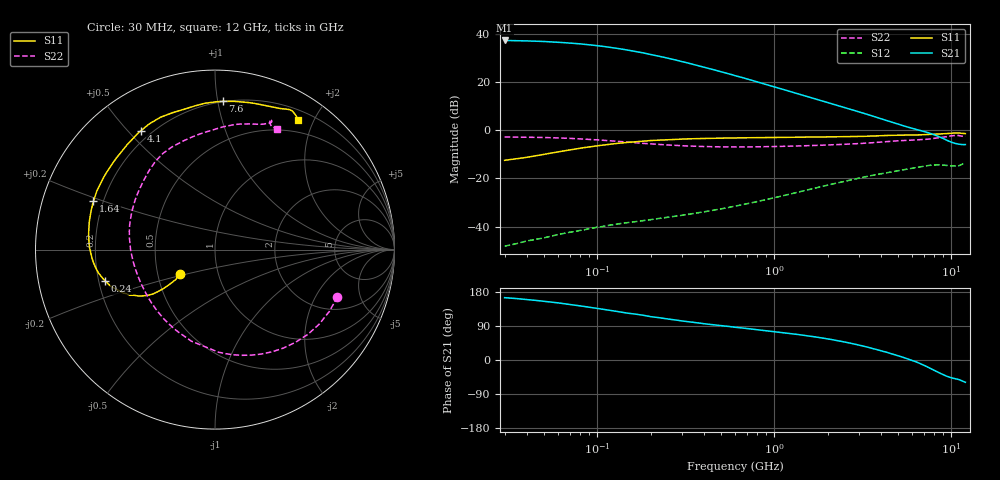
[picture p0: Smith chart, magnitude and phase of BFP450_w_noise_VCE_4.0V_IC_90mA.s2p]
! (c) 2015  Infineon Technologies AG, Munich
! Infineon Technologies  Discrete & RF Semiconductors
! BFP450
! VCE =  4.0 V,  IC =  90 mA
! Common Emitter S-Parameters:  Nov 2015
# GHz  S  MA  R  50
!  f  S11  S21  S12  S22
! GHz  MAG  ANG  MAG  ANG  MAG  ANG  MAG  ANG
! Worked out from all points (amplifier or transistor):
!   239 points, 30 MHz to 12 GHz, reference 50 ohm
!   highest |S21| = 37.5 dB at 30 MHz (marker M1)
!   |S21| within 3 dB of that: start of sweep to 121.8 MHz
!   unconditionally stable (mu >= 1): 946.3 MHz to end of sweep
!   at 300 MHz: K = 0.71, MSG = 32.0 dB, |S12| = -35.3 dB
!   at 1.88 GHz: K = 1.09, MAG = 15.9 dB, |S12| = -23.2 dB
!   at 12 GHz: K = 1.08, MAG = 2.0 dB, |S12| = -13.5 dB
!   lowest NFmin = 2.02 dB at 450 MHz
!   S11 on the Smith chart (normalised r, x): 30 MHz: 0.65, -0.19; 240 MHz: 0.23, -0.13; 1.64 GHz: 0.16, +0.19; 4.1 GHz: 0.16, +0.54; 7.6 GHz: 0.20, +1.03; 12 GHz: 0.33, +1.79
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0.03  0.2386 -145.7  74.65 164.5  0.0039 62.2  0.7315 -21.1
0.04  0.2753 -142.7  73.04 159.7  0.005 64.8  0.7243 -28.4
0.05  0.3176 -142.6  71.06 154.9  0.0058 63.0  0.7139 -35.6
0.06  0.3593 -142.9  68.55 150.8  0.0068 61.6  0.7004 -42.4
0.07  0.3931 -143.6  65.94 146.4  0.0076 61.1  0.6845 -48.9
0.085  0.4406 -145.2  62.02 141.1  0.0086 58.8  0.6598 -57.8
0.11  0.5001 -148.9  55.71 133.2  0.0102 56.8  0.6219 -71.0
0.14  0.5514 -153.5  48.87 125.6  0.0117 54.7  0.5824 -84.3
0.16  0.5761 -156.1  44.97 121.8  0.0125 54.0  0.559 -91.2
0.2  0.6161 -160.7  38.08 114.4  0.0139 53.0  0.527 -104.4
0.24  0.6368 -164.2  33.1 109.5  0.0153 53.2  0.5026 -114.0
0.3  0.6623 -168.7  27.16 103.1  0.0171 54.0  0.4808 -125.9
0.4  0.6811 -173.9  20.76 95.8  0.0202 55.9  0.4625 -139.5
0.6  0.6994 179.0  13.84 86.4  0.0265 58.6  0.4535 -156.0
0.8  0.7078 173.9  10.23 79.9  0.033 59.8  0.4565 -166.1
1  0.7134 169.6  8.055 74.9  0.0397 59.8  0.4628 -173.7
1.64  0.7292 158.2  4.728 62.1  0.0611 55.9  0.4856 169.5
2.58  0.7422 143.3  2.878 46.1  0.0901 46.2  0.5182 150.8
4.1  0.7804 122.0  1.704 23.0  0.1273 28.6  0.577 128.6
4.5  0.7904 117.6  1.523 17.6  0.1352 24.7  0.5938 123.9
7.6  0.8271 87.0  0.87 -22.1  0.1882 -8.2  0.6656 91.5
12  0.8586 57.2  0.508 -58.8  0.2112 -40.2  0.756 62.7
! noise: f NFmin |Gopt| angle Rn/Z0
0.45  2.02  0.62  -172  0.07
0.9  2.06  0.65  -166  0.08
1.9  2.17  0.67  -150  0.14
2.4  2.26  0.67  -140  0.21
